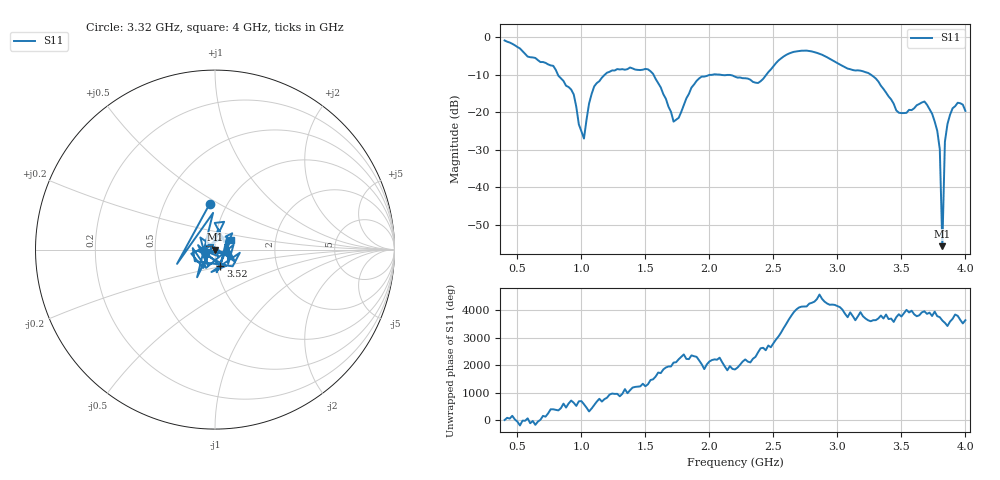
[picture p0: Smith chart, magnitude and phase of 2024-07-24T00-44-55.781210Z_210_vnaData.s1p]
!Created with skrf (http://scikit-rf.org).
# Hz S RI R 50.0
!freq ReS11 ImS11
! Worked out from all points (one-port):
!   181 points, 400 MHz to 4 GHz, reference 50 ohm
!   lowest |S11| = -55.7 dB at 3.82 GHz (marker M1), VSWR 1.00, Z = 50.2 + j0.0554 ohm
!   |S11| at or under -10 dB: 817 MHz to 1.181 GHz (364.5 MHz wide, 36.5 % of centre); 1.564 GHz to 2.021 GHz (457 MHz wide, 25.5 % of centre); 3.263 GHz to end of sweep (the widest 3 of 4)
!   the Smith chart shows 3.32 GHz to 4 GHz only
!   S11 on the Smith chart (normalised r, x): 3.32 GHz: 0.83, +0.46; 3.52 GHz: 1.04, -0.20; 4 GHz: 1.19, +0.13
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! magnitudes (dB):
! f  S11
! 400 MHz  -0.8
! 780 MHz  -7.6
! 860 MHz  -11.6
! 940 MHz  -15.2
! 980 MHz  -23.2
! 1.02 GHz  -27.0
! 1.06 GHz  -17.6
! 1.1 GHz  -13.1
! 1.3 GHz  -8.6
! 1.54 GHz  -9.0
! 1.72 GHz  -22.5
! 1.76 GHz  -21.5
! 1.92 GHz  -11.0
! 2.2 GHz  -10.5
! 2.38 GHz  -12.2
! 2.66 GHz  -3.9
! 3.1 GHz  -8.5
! 3.32 GHz  -11.8
! 3.52 GHz  -20.2
! 3.56 GHz  -19.3
! 3.68 GHz  -17.1
! 3.78 GHz  -24.9
! 3.8 GHz  -29.8
! 3.82 GHz  -55.7
! 3.84 GHz  -27.8
! 3.86 GHz  -23.1
! 3.94 GHz  -17.4
! 4 GHz  -19.6
